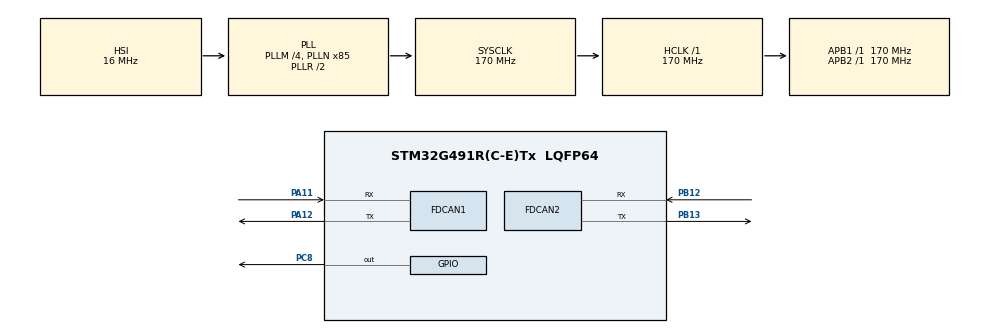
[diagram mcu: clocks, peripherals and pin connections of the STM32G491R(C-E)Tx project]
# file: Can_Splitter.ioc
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FDCAN1.CalculateBaudRateNominal=249999
FDCAN1.CalculateTimeBitNominal=4000
FDCAN1.CalculateTimeQuantumNominal=117.64705882352941
FDCAN1.ExtFiltersNbr=0
FDCAN1.NominalPrescaler=20
FDCAN1.NominalTimeSeg1=26
FDCAN1.NominalTimeSeg2=7
FDCAN1.StdFiltersNbr=1
FDCAN2.CalculateBaudRateNominal=499999
FDCAN2.CalculateTimeBitNominal=2000
FDCAN2.CalculateTimeQuantumNominal=58.82352941176471
FDCAN2.ExtFiltersNbr=1
FDCAN2.NominalPrescaler=10
FDCAN2.NominalTimeSeg1=26
FDCAN2.NominalTimeSeg2=7
Mcu.Family=STM32G4
Mcu.Name=STM32G491R(C-E)Tx
Mcu.Package=LQFP64
NVIC.FDCAN1_IT0_IRQn=true\:0\:0\:false\:false\:true\:true\:true\:true
NVIC.FDCAN1_IT1_IRQn=true\:0\:0\:false\:false\:true\:true\:true\:true
NVIC.FDCAN2_IT0_IRQn=true\:0\:0\:false\:false\:true\:true\:true\:true
NVIC.FDCAN2_IT1_IRQn=true\:0\:0\:false\:false\:true\:true\:true\:true
NVIC.PriorityGroup=NVIC_PRIORITYGROUP_4
NVIC.TIM1_BRK_TIM15_IRQn=true\:0\:0\:false\:false\:true\:true\:true\:true
NVIC.TIM1_CC_IRQn=true\:0\:0\:false\:false\:true\:true\:true\:true
NVIC.TIM1_TRG_COM_TIM17_IRQn=true\:0\:0\:false\:false\:true\:true\:true\:true
NVIC.TIM1_UP_TIM16_IRQn=true\:0\:0\:false\:false\:true\:true\:true\:true
PA11.Mode=FDCAN_Activate
PA11.Signal=FDCAN1_RX
PA12.Mode=FDCAN_Activate
PA12.Signal=FDCAN1_TX
PA13.Mode=Serial_Wire
PA13.Signal=SYS_JTMS-SWDIO
PA14.Mode=Serial_Wire
PA14.Signal=SYS_JTCK-SWCLK
PB12.Mode=FDCAN_Activate
PB12.Signal=FDCAN2_RX
PB13.Mode=FDCAN_Activate
PB13.Signal=FDCAN2_TX
PC8.Signal=GPIO_Output
ProjectManager.HeapSize=0x200
ProjectManager.StackSize=0x400
ProjectManager.TargetToolchain=STM32CubeIDE
RCC.ADC12Freq_Value=170000000
RCC.ADC345Freq_Value=170000000
RCC.AHBFreq_Value=170000000
RCC.APB1Freq_Value=170000000
RCC.APB1TimFreq_Value=170000000
RCC.APB2Freq_Value=170000000
RCC.APB2TimFreq_Value=170000000
RCC.CortexFreq_Value=170000000
RCC.EXTERNAL_CLOCK_VALUE=12288000
RCC.HCLKFreq_Value=170000000
RCC.HSE_VALUE=8000000
RCC.HSI48_VALUE=48000000
RCC.HSI_VALUE=16000000
RCC.LSE_VALUE=32768
RCC.PLLM=RCC_PLLM_DIV4
RCC.PLLN=85
RCC.SYSCLKFreq_VALUE=170000000
RCC.SYSCLKSource=RCC_SYSCLKSOURCE_PLLCLK
RCC.VCOOutputFreq_Value=340000000
TIM1.PeriodNoDither=999
TIM1.Prescaler=16999
VP_SYS_VS_DBSignals.Mode=DisableDeadBatterySignals
VP_TIM1_VS_ClockSourceINT.Mode=Internal
board=custom

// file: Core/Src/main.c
/* USER CODE BEGIN Header */
/**
  ******************************************************************************
  * @file           : main.c
  * @brief          : Main program body
  ******************************************************************************
  * @attention
  *
  * Copyright (c) 2026 STMicroelectronics.
  * All rights reserved.
  *
  * This software is licensed under terms that can be found in the LICENSE file
  * in the root directory of this software component.
  * If no LICENSE file comes with this software, it is provided AS-IS.
  *
  ******************************************************************************
  */
/* USER CODE END Header */
#include "main.h"

/* USER CODE BEGIN Includes */
#include <stdbool.h>
#include "can.h"
/* USER CODE END Includes */

FDCAN_HandleTypeDef hfdcan1;
FDCAN_HandleTypeDef hfdcan2;

TIM_HandleTypeDef htim1;

/* USER CODE BEGIN PV */

FDCAN_RxHeaderTypeDef FDCAN1RxHeader;
FDCAN_TxHeaderTypeDef FDCAN1TxHeader;
uint8_t FDCAN1RxData[8];
uint8_t FDCAN1TxData[8];

FDCAN_RxHeaderTypeDef FDCAN2RxHeader;
FDCAN_TxHeaderTypeDef FDCAN2TxHeader;
uint8_t FDCAN2RxData[8];
uint8_t FDCAN2TxData[8];

bool bmsTimeoutLoopbackFlag = false;

/* USER CODE END PV */

void SystemClock_Config(void);
static void MX_GPIO_Init(void);
static void MX_FDCAN1_Init(void);
static void MX_FDCAN2_Init(void);
static void MX_TIM1_Init(void);
/* USER CODE BEGIN PFP */
void HAL_FDCAN_RxFifo0Callback(FDCAN_HandleTypeDef *hfdcan, uint32_t RxFifo0ITs);
void HAL_FDCAN_RxFifo1Callback(FDCAN_HandleTypeDef *hfdcan, uint32_t RxFifo1ITs);
void HAL_TIM_PeriodElapsedCallback(TIM_HandleTypeDef *htim);
/* USER CODE END PFP */

int main(void)
{

  /* MCU Configuration--------------------------------------------------------*/

  /* Reset of all peripherals, Initializes the Flash interface and the Systick. */
  HAL_Init();

  /* Configure the system clock */
  SystemClock_Config();

  /* Initialize all configured peripherals */
  MX_GPIO_Init();
  MX_FDCAN1_Init();
  MX_FDCAN2_Init();
  MX_TIM1_Init();
  /* USER CODE BEGIN 2 */
  HAL_TIM_Base_Start_IT(&htim1);
  /* USER CODE END 2 */

  /* Infinite loop */
  /* USER CODE BEGIN WHILE */
  while (1)
  {
    if (txTelemetryRequest) {
      txTelemetryRequest = 0;
      CAN_TransmitTelemetry();
    }
    /* USER CODE END WHILE */

  }
}

void SystemClock_Config(void)
{
  RCC_OscInitTypeDef RCC_OscInitStruct = {0};
  RCC_ClkInitTypeDef RCC_ClkInitStruct = {0};

  /** Configure the main internal regulator output voltage
  */
  HAL_PWREx_ControlVoltageScaling(PWR_REGULATOR_VOLTAGE_SCALE1_BOOST);

  /** Initializes the RCC Oscillators according to the specified parameters
  * in the RCC_OscInitTypeDef structure.
  */
  RCC_OscInitStruct.OscillatorType = RCC_OSCILLATORTYPE_HSI;
  RCC_OscInitStruct.HSIState = RCC_HSI_ON;
  RCC_OscInitStruct.HSICalibrationValue = RCC_HSICALIBRATION_DEFAULT;
  RCC_OscInitStruct.PLL.PLLState = RCC_PLL_ON;
  RCC_OscInitStruct.PLL.PLLSource = RCC_PLLSOURCE_HSI;
  RCC_OscInitStruct.PLL.PLLM = RCC_PLLM_DIV4;
  RCC_OscInitStruct.PLL.PLLN = 85;
  RCC_OscInitStruct.PLL.PLLP = RCC_PLLP_DIV2;
  RCC_OscInitStruct.PLL.PLLQ = RCC_PLLQ_DIV2;
  RCC_OscInitStruct.PLL.PLLR = RCC_PLLR_DIV2;
  if (HAL_RCC_OscConfig(&RCC_OscInitStruct) != HAL_OK)
  {
    Error_Handler();
  }

  /** Initializes the CPU, AHB and APB buses clocks
  */
  RCC_ClkInitStruct.ClockType = RCC_CLOCKTYPE_HCLK|RCC_CLOCKTYPE_SYSCLK
                              |RCC_CLOCKTYPE_PCLK1|RCC_CLOCKTYPE_PCLK2;
  RCC_ClkInitStruct.SYSCLKSource = RCC_SYSCLKSOURCE_PLLCLK;
  RCC_ClkInitStruct.AHBCLKDivider = RCC_SYSCLK_DIV1;
  RCC_ClkInitStruct.APB1CLKDivider = RCC_HCLK_DIV1;
  RCC_ClkInitStruct.APB2CLKDivider = RCC_HCLK_DIV1;

  if (HAL_RCC_ClockConfig(&RCC_ClkInitStruct, FLASH_LATENCY_4) != HAL_OK)
  {
    Error_Handler();
  }
}

static void MX_FDCAN1_Init(void)
{

  hfdcan1.Instance = FDCAN1;
  hfdcan1.Init.ClockDivider = FDCAN_CLOCK_DIV1;
  hfdcan1.Init.FrameFormat = FDCAN_FRAME_CLASSIC;
#ifdef testLoopbackCAN1
  hfdcan1.Init.Mode = FDCAN_MODE_INTERNAL_LOOPBACK;
#else
  hfdcan1.Init.Mode = FDCAN_MODE_NORMAL;
#endif
  hfdcan1.Init.AutoRetransmission = DISABLE;
  hfdcan1.Init.TransmitPause = DISABLE;
  hfdcan1.Init.ProtocolException = DISABLE;
  hfdcan1.Init.NominalPrescaler = 20;
  hfdcan1.Init.NominalSyncJumpWidth = 1;
  hfdcan1.Init.NominalTimeSeg1 = 26;
  hfdcan1.Init.NominalTimeSeg2 = 7;
  hfdcan1.Init.DataPrescaler = 1;
  hfdcan1.Init.DataSyncJumpWidth = 1;
  hfdcan1.Init.DataTimeSeg1 = 1;
  hfdcan1.Init.DataTimeSeg2 = 1;
  hfdcan1.Init.StdFiltersNbr = 1;
  hfdcan1.Init.ExtFiltersNbr = 0;
  hfdcan1.Init.TxFifoQueueMode = FDCAN_TX_FIFO_OPERATION;
  if (HAL_FDCAN_Init(&hfdcan1) != HAL_OK)
  {
    Error_Handler();
  }
  /* USER CODE BEGIN FDCAN1_Init 2 */
  FDCAN_FilterTypeDef sFilterConfig;

  sFilterConfig.IdType = FDCAN_STANDARD_ID;
  sFilterConfig.FilterIndex = 0;
  sFilterConfig.FilterType = FDCAN_FILTER_RANGE;
  sFilterConfig.FilterConfig = FDCAN_FILTER_TO_RXFIFO0;
  sFilterConfig.FilterID1 = 0x000;
  sFilterConfig.FilterID2 = 0x7FF;

  if (HAL_FDCAN_ConfigFilter(&hfdcan1, &sFilterConfig) != HAL_OK) {
	  Error_Handler();
  }

  HAL_FDCAN_ActivateNotification(&hfdcan1, FDCAN_IT_RX_FIFO0_NEW_MESSAGE, 0);
  HAL_FDCAN_Start(&hfdcan1);

#ifdef testLoopbackCAN1
  FDCAN1TxHeader.FDFormat = FDCAN_CLASSIC_CAN;
  FDCAN1TxHeader.IdType = FDCAN_STANDARD_ID;
  FDCAN1TxHeader.BitRateSwitch = FDCAN_BRS_OFF;
  FDCAN1TxHeader.TxFrameType = FDCAN_DATA_FRAME;
  FDCAN1TxHeader.ErrorStateIndicator = FDCAN_ESI_ACTIVE;
  FDCAN1TxHeader.TxEventFifoControl = FDCAN_NO_TX_EVENTS;
  FDCAN1TxHeader.MessageMarker = 0;
#else
  FDCAN1TxHeader.FDFormat = FDCAN_CLASSIC_CAN;
  FDCAN1TxHeader.BitRateSwitch = FDCAN_BRS_OFF;
  FDCAN1TxHeader.TxFrameType = FDCAN_DATA_FRAME;
  FDCAN1TxHeader.ErrorStateIndicator = FDCAN_ESI_ACTIVE;
  FDCAN1TxHeader.TxEventFifoControl = FDCAN_NO_TX_EVENTS;
  FDCAN1TxHeader.MessageMarker = 0;
#endif

  /* USER CODE END FDCAN1_Init 2 */

}

static void MX_FDCAN2_Init(void)
{

  hfdcan2.Instance = FDCAN2;
  hfdcan2.Init.ClockDivider = FDCAN_CLOCK_DIV1;
  hfdcan2.Init.FrameFormat = FDCAN_FRAME_CLASSIC;
#ifdef testLoopbackCAN2
  hfdcan2.Init.Mode = FDCAN_MODE_INTERNAL_LOOPBACK;
#else
  hfdcan2.Init.Mode = FDCAN_MODE_NORMAL;
#endif
  hfdcan2.Init.AutoRetransmission = DISABLE;
  hfdcan2.Init.TransmitPause = DISABLE;
  hfdcan2.Init.ProtocolException = DISABLE;
  hfdcan2.Init.NominalPrescaler = 10;
  hfdcan2.Init.NominalSyncJumpWidth = 1;
  hfdcan2.Init.NominalTimeSeg1 = 26;
  hfdcan2.Init.NominalTimeSeg2 = 7;
  hfdcan2.Init.DataPrescaler = 1;
  hfdcan2.Init.DataSyncJumpWidth = 1;
  hfdcan2.Init.DataTimeSeg1 = 1;
  hfdcan2.Init.DataTimeSeg2 = 1;
  hfdcan2.Init.StdFiltersNbr = 0;
  hfdcan2.Init.ExtFiltersNbr = 1;
  hfdcan2.Init.TxFifoQueueMode = FDCAN_TX_FIFO_OPERATION;
  if (HAL_FDCAN_Init(&hfdcan2) != HAL_OK)
  {
    Error_Handler();
  }
  /* USER CODE BEGIN FDCAN2_Init 2 */
  FDCAN_FilterTypeDef sFilterConfig2;

  sFilterConfig2.IdType = FDCAN_EXTENDED_ID;
  sFilterConfig2.FilterIndex = 0;
  sFilterConfig2.FilterType = FDCAN_FILTER_MASK;
  sFilterConfig2.FilterConfig = FDCAN_FILTER_TO_RXFIFO1;
  sFilterConfig2.FilterID1 = 0;
  sFilterConfig2.FilterID2 = 0;

  if (HAL_FDCAN_ConfigFilter(&hfdcan2, &sFilterConfig2) != HAL_OK) {
	  Error_Handler();
  }

  HAL_FDCAN_ActivateNotification(&hfdcan2, FDCAN_IT_RX_FIFO1_NEW_MESSAGE, 0);

  HAL_FDCAN_Start(&hfdcan2);

  FDCAN2TxHeader.FDFormat = FDCAN_CLASSIC_CAN;
  FDCAN2TxHeader.IdType = FDCAN_EXTENDED_ID;
  FDCAN2TxHeader.BitRateSwitch = FDCAN_BRS_OFF;
  FDCAN2TxHeader.TxFrameType = FDCAN_DATA_FRAME;
  FDCAN2TxHeader.ErrorStateIndicator = FDCAN_ESI_ACTIVE;
  FDCAN2TxHeader.TxEventFifoControl = FDCAN_NO_TX_EVENTS;
  FDCAN2TxHeader.MessageMarker = 0;
  /* USER CODE END FDCAN2_Init 2 */

}

static void MX_TIM1_Init(void)
{

  TIM_ClockConfigTypeDef sClockSourceConfig = {0};
  TIM_MasterConfigTypeDef sMasterConfig = {0};

  htim1.Instance = TIM1;
  htim1.Init.Prescaler = 16999;
  htim1.Init.CounterMode = TIM_COUNTERMODE_UP;
  htim1.Init.Period = 999;
  htim1.Init.ClockDivision = TIM_CLOCKDIVISION_DIV1;
  htim1.Init.RepetitionCounter = 0;
  htim1.Init.AutoReloadPreload = TIM_AUTORELOAD_PRELOAD_DISABLE;
  if (HAL_TIM_Base_Init(&htim1) != HAL_OK)
  {
    Error_Handler();
  }
  sClockSourceConfig.ClockSource = TIM_CLOCKSOURCE_INTERNAL;
  if (HAL_TIM_ConfigClockSource(&htim1, &sClockSourceConfig) != HAL_OK)
  {
    Error_Handler();
  }
  sMasterConfig.MasterOutputTrigger = TIM_TRGO_RESET;
  sMasterConfig.MasterOutputTrigger2 = TIM_TRGO2_RESET;
  sMasterConfig.MasterSlaveMode = TIM_MASTERSLAVEMODE_DISABLE;
  if (HAL_TIMEx_MasterConfigSynchronization(&htim1, &sMasterConfig) != HAL_OK)
  {
    Error_Handler();
  }

}

static void MX_GPIO_Init(void)
{
  GPIO_InitTypeDef GPIO_InitStruct = {0};

  /* GPIO Ports Clock Enable */
  __HAL_RCC_GPIOB_CLK_ENABLE();
  __HAL_RCC_GPIOC_CLK_ENABLE();
  __HAL_RCC_GPIOA_CLK_ENABLE();

  /*Configure GPIO pin Output Level */
  HAL_GPIO_WritePin(GPIOC, GPIO_PIN_8, GPIO_PIN_RESET);

  /*Configure GPIO pin : PC8 */
  GPIO_InitStruct.Pin = GPIO_PIN_8;
  GPIO_InitStruct.Mode = GPIO_MODE_OUTPUT_PP;
  GPIO_InitStruct.Pull = GPIO_NOPULL;
  GPIO_InitStruct.Speed = GPIO_SPEED_FREQ_LOW;
  HAL_GPIO_Init(GPIOC, &GPIO_InitStruct);

}

/* USER CODE BEGIN 4 */

void HAL_FDCAN_RxFifo0Callback(FDCAN_HandleTypeDef *hfdcan, uint32_t RxFifo0ITs) {
	if (hfdcan->Instance == FDCAN1) {
		if ((RxFifo0ITs & FDCAN_IT_RX_FIFO0_NEW_MESSAGE) != RESET) {
			/* Retrieve message from hardware FIFO */
			if (HAL_FDCAN_GetRxMessage(hfdcan, FDCAN_RX_FIFO0, &FDCAN1RxHeader, FDCAN1RxData) == HAL_OK) {
				uint8_t dlc = FDCAN1RxHeader.DataLength;
				// Processa a mensagem do BMS para telemetria estruturada
				CAN_ProcessBMSMessage(FDCAN1RxHeader.Identifier, FDCAN1RxData, dlc);
				HAL_GPIO_TogglePin(GPIOC, GPIO_PIN_8);
			}
		}
	}
}

void HAL_FDCAN_RxFifo1Callback(FDCAN_HandleTypeDef *hfdcan, uint32_t RxFifo1ITs) {
#ifdef testLoopbackCAN2
	if (hfdcan->Instance == FDCAN2) {
		if ((RxFifo1ITs & FDCAN_IT_RX_FIFO1_NEW_MESSAGE) != RESET) {
			/* Receive message back for loopback verification */
			HAL_FDCAN_GetRxMessage(hfdcan, FDCAN_RX_FIFO1, &FDCAN2RxHeader, FDCAN2RxData);

			if (FDCAN2RxHeader.Identifier == 0x0D428081) {
				if (FDCAN2RxData[0] == 0x01) { // ERROR_CODE_BMS_LOST
					bmsTimeoutLoopbackFlag = true;
				}
			}
		}
	}
#endif
}

void HAL_TIM_PeriodElapsedCallback(TIM_HandleTypeDef *htim){

	if (htim->Instance == TIM1) {
		// Toggle Debug LED
//		HAL_GPIO_TogglePin(GPIOC, GPIO_PIN_8);

		/* Defer TX to main loop — retry busy-wait must not run in ISR context,
		 * otherwise FDCAN1 RX (same prio) starves and BMS frames are lost. */
		txTelemetryRequest = 1;
	}
}
/* USER CODE END 4 */

void Error_Handler(void)
{
  /* USER CODE BEGIN Error_Handler_Debug */
	HAL_GPIO_WritePin(GPIOC, GPIO_PIN_8, SET);
  /* User can add his own implementation to report the HAL error return state */
  __disable_irq();
  while (1)
  {
  }
  /* USER CODE END Error_Handler_Debug */
}
